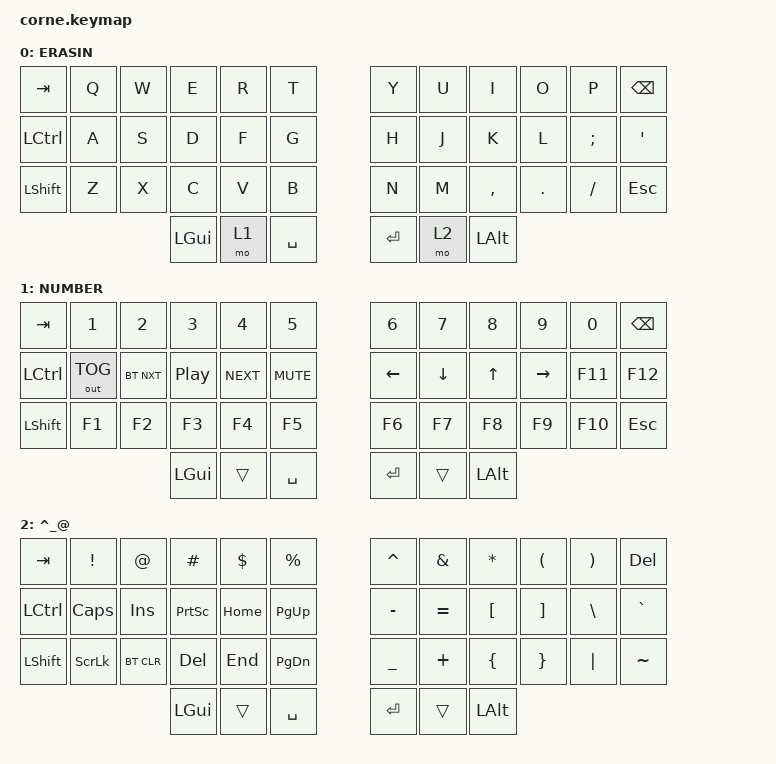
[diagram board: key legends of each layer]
/*
 * Copyright (c) 2020 The ZMK Contributors
 *
 * SPDX-License-Identifier: MIT
 */

#include <behaviors.dtsi>
#include <dt-bindings/zmk/keys.h>
#include <dt-bindings/zmk/bt.h>
#include <dt-bindings/zmk/outputs.h>

/ {
        keymap {
                compatible = "zmk,keymap";

                default_layer {
		            display-name = "ERASIN";
// -----------------------------------------------------------------------------------------
// |  TAB |  Q  |  W  |  E  |  R  |  T  |   |  Y  |  U   |  I  |  O  |  P  | BSPC |
// | CTRL |  A  |  S  |  D  |  F  |  G  |   |  H  |  J   |  K  |  L  |  ;  |  '   |
// | SHFT |  Z  |  X  |  C  |  V  |  B  |   |  N  |  M   |  ,  |  .  |  /  | ESC  |
//                    | GUI | LWR | SPC |   | ENT | RSE  | ALT |
                        bindings = <
   &kp TAB   &kp Q &kp W &kp E &kp R &kp T   &kp Y &kp U  &kp I     &kp O   &kp P    &kp BSPC
   &kp LCTRL &kp A &kp S &kp D &kp F &kp G   &kp H &kp J  &kp K     &kp L   &kp SEMI &kp SQT
   &kp LSHFT &kp Z &kp X &kp C &kp V &kp B   &kp N &kp M  &kp COMMA &kp DOT &kp FSLH &kp ESC
                  &kp LGUI &mo 1 &kp SPACE   &kp RET &mo 2 &kp LALT
                        >;
                };

                lower_layer {
		            display-name = "NUMBER";
// -----------------------------------------------------------------------------------------
// | TAB   |  1   |  2  |  3  |  4  |  5  |     |  6  |  7  | 8   |  9  |  0   | BSPC |
// | CTRL  | OUT  |  BT |PAUSE| NEXT| Mute|     | LFT | DWN | UP  | RGT | F11  | F12  |
// | SHIF  | F1   |  F2 | F3  | F4  | F5  |     | F6  | F7  | F8  | F9  | F10  | ESC  |     
//                      | GUI |     | SPC |     | ENT |  L0 | ALT |
                        bindings = <

   &kp TAB    &kp N1        &kp N2      &kp N3            &kp N4      &kp N5        &kp N6    &kp N7    &kp N8    &kp N9     &kp N0   &kp BSPC
   &kp LCTRL  &out OUT_TOG  &bt BT_NXT  &kp C_PLAY_PAUSE  &kp C_NEXT  &kp C_MUTE    &kp LEFT  &kp DOWN  &kp UP    &kp RIGHT  &kp F11  &kp F12
   &kp LSHFT  &kp F1        &kp F2      &kp F3            &kp F4      &kp F5        &kp F6    &kp F7    &kp F8    &kp F9     &kp F10  &kp ESC
                                        &kp LGUI          &trans      &kp SPACE     &kp RET   &trans    &kp LALT
                        >;
                };

                raise_layer {
		            display-name = "^_@";
// -----------------------------------------------------------------------------------------
// |  TAB |  !  |  @  |  #  |  $  |  %  |   |  ^  |  &  |  *  |  (  |  )  | DEL  |
// | CTRL | CL  | INS | PS  | HOME| PUP |   |  -  |  =  |  [  |  ]  |  \  |  `   |
// | SHFT | SL  |BTCLR| DEL | END | PD  |   |  _  |  +  |  {  |  }  | "|" |  ~   |
//                    | GUI |     | SPC |   | ENT |  L0 | ALT |
                        bindings = <
   &kp TAB    &kp EXCL        &kp AT       &kp HASH         &kp DLLR  &kp PRCNT        &kp CARET  &kp AMPS   &kp ASTRK  &kp LPAR  &kp RPAR  &kp DELETE
   &kp LCTRL  &kp CLCK        &kp INS      &kp PRINTSCREEN  &kp HOME  &kp PAGE_UP      &kp MINUS  &kp EQUAL  &kp LBKT   &kp RBKT  &kp BSLH  &kp GRAVE
   &kp LSHFT  &kp SCROLLLOCK  &bt BT_CLR   &kp DELETE       &kp END   &kp PAGE_DOWN    &kp UNDER  &kp PLUS   &kp LBRC   &kp RBRC  &kp PIPE  &kp TILDE
                                           &kp LGUI         &trans    &kp SPACE        &kp RET    &trans     &kp LALT
                        >;
                };
        };
};
